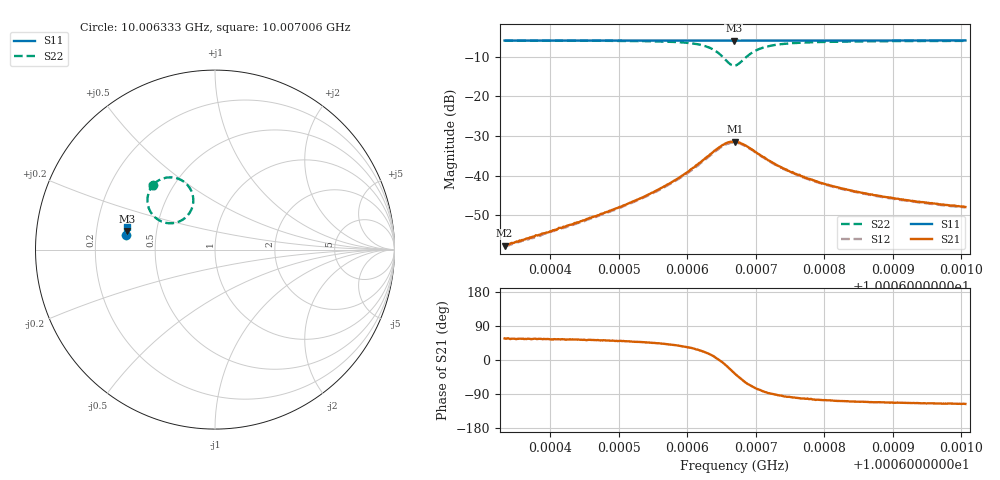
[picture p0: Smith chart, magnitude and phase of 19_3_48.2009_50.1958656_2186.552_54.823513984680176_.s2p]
#  HZ  S  RI  R  50.00
! Rohde & Schwarz Vector Network Analyzer
! Rohde-Schwarz,ZNB20-2Port,1311601062101988,3.16
! Created: UTC 3/20/2024, 11:36:53 AM
! freq[Hz]  re:S11  im:S11  re:S21  im:S21  re:S12  im:S12  re:S22  im:S22
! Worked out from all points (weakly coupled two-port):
!   401 points, 10.006333 GHz to 10.007006 GHz, reference 50 ohm
!   highest |S21| = -31.42 dB at 10.00667 GHz (marker M1); lowest = -57.6 dB at 10.006333 GHz (marker M2)
!   lowest |S11| = -6.0 dB at 10.006668 GHz (marker M3), VSWR 3.00, Z = 16.8 + j4.67 ohm
!   |S11| at or under -10 dB: nowhere
!   |S22| runs from -12.3 to -6.0 dB; largest |S21 - S12| = 0.002
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1.00063335e10  -0.4951 0.0836  0.000718 0.0011  0.000674 0.00111  -0.345 0.3622
1.00063772e10  -0.4948 0.0866  0.000951 0.00142  0.000876 0.00143  -0.3402 0.3666
1.00064461e10  -0.494 0.091  0.0016 0.00216  0.00146 0.00217  -0.3295 0.3754
1.00065116e10  -0.4933 0.0955  0.00284 0.00332  0.0026 0.00338  -0.3121 0.3865
1.00065587e10  -0.4925 0.0987  0.00484 0.00469  0.0045 0.00478  -0.2879 0.3967
1.00065974e10  -0.4918 0.1016  0.00877 0.00605  0.00822 0.00629  -0.2467 0.4026
1.00066259e10  -0.491 0.1034  0.0154 0.00577  0.0146 0.0061  -0.1854 0.3856
1.00066394e10  -0.4902 0.1041  0.0203 0.00319  0.0192 0.00394  -0.1463 0.3512
1.00066511e10  -0.4895 0.1042  0.0241 -0.00244  0.0233 -0.00115  -0.122 0.2917
1.00066612e10  -0.4894 0.1042  0.0245 -0.00992  0.0241 -0.00806  -0.1315 0.2231
1.00066679e10  -0.4891 0.1042  0.0224 -0.0147  0.0226 -0.013  -0.1604 0.1822
1.00066696e10  -0.4892 0.1042  0.0216 -0.0159  0.0219 -0.014  -0.1699 0.1738
1.00066747e10  -0.4895 0.1042  0.0188 -0.0184  0.0194 -0.0168  -0.2018 0.1556
1.00066848e10  -0.4898 0.1044  0.0124 -0.0207  0.0133 -0.0193  -0.2661 0.1479
1.00066965e10  -0.4903 0.1051  0.00648 -0.0198  0.00765 -0.0191  -0.3204 0.1687
1.00067116e10  -0.4906 0.1063  0.00203 -0.017  0.00305 -0.0165  -0.3565 0.2057
1.00067486e10  -0.4908 0.109  -0.00143 -0.0113  -0.000842 -0.0111  -0.3764 0.2683
1.00067822e10  -0.4904 0.1114  -0.00213 -0.00866  -0.0015 -0.00853  -0.3742 0.2977
1.00068276e10  -0.49 0.1145  -0.00216 -0.00649  -0.00181 -0.00646  -0.3683 0.3195
1.00068949e10  -0.4892 0.1189  -0.00203 -0.00488  -0.00173 -0.0049  -0.36 0.3375
1.00069369e10  -0.4884 0.1216  -0.00189 -0.00431  -0.00166 -0.0043  -0.3556 0.3447
1.00070058e10  -0.4875 0.1261  -0.00177 -0.00363  -0.00157 -0.00366  -0.3497 0.3537
